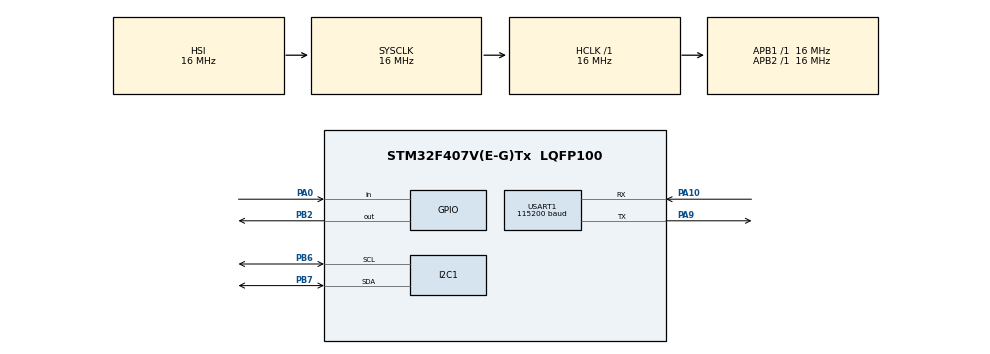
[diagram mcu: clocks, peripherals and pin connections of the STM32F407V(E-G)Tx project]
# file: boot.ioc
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I2C1.I2C_Mode=I2C_Fast
Mcu.Family=STM32F4
Mcu.Name=STM32F407V(E-G)Tx
Mcu.Package=LQFP100
NVIC.PriorityGroup=NVIC_PRIORITYGROUP_4
PA0-WKUP.GPIO_PuPd=GPIO_PULLUP
PA0-WKUP.Signal=GPIO_Input
PA10.Mode=Asynchronous
PA10.Signal=USART1_RX
PA13.Mode=Serial_Wire
PA13.Signal=SYS_JTMS-SWDIO
PA14.Mode=Serial_Wire
PA14.Signal=SYS_JTCK-SWCLK
PA9.Mode=Asynchronous
PA9.Signal=USART1_TX
PB2.GPIO_ModeDefaultOutputPP=GPIO_MODE_OUTPUT_PP
PB2.GPIO_PuPd=GPIO_NOPULL
PB2.GPIO_Speed=GPIO_SPEED_FREQ_HIGH
PB2.PinState=GPIO_PIN_SET
PB2.Signal=GPIO_Output
PB6.Mode=I2C
PB6.Signal=I2C1_SCL
PB7.Mode=I2C
PB7.Signal=I2C1_SDA
ProjectManager.HeapSize=0x200
ProjectManager.StackSize=0x500
ProjectManager.TargetToolchain=MDK-ARM V5.32
RCC.48MHZClocksFreq_Value=48000000
RCC.AHBFreq_Value=16000000
RCC.APB1Freq_Value=16000000
RCC.APB1TimFreq_Value=16000000
RCC.APB2Freq_Value=16000000
RCC.APB2TimCLKDivider=1
RCC.APB2TimFreq_Value=16000000
RCC.CortexFreq_Value=16000000
RCC.HCLKFreq_Value=16000000
RCC.HSE_VALUE=25000000
RCC.HSI_VALUE=16000000
RCC.LSE_VALUE=32768
RCC.SYSCLKFreq_VALUE=16000000
RCC.VCOOutputFreq_Value=192000000
USART1.BaudRate=115200
USART1.VirtualMode=VM_ASYNC
board=custom

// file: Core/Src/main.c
/* USER CODE BEGIN Header */
/**
  ******************************************************************************
  * @file           : main.c
  * @brief          : Main program body
  ******************************************************************************
  * @attention
  *
  * Copyright (c) 2025 STMicroelectronics.
  * All rights reserved.
  *
  * This software is licensed under terms that can be found in the LICENSE file
  * in the root directory of this software component.
  * If no LICENSE file comes with this software, it is provided AS-IS.
  *
  ******************************************************************************
  */
/* USER CODE END Header */
#include "main.h"
#include "i2c.h"
#include "usart.h"
#include "gpio.h"

/* USER CODE BEGIN Includes */
#include "oled.h"
#include <string.h> // 需要用到 memcpy
#include <stdio.h>
#include <stdlib.h> // atoi
/* USER CODE END Includes */

/* USER CODE BEGIN PM */

#define META_ADDRESS    0x08008000  // Sector 2 (16KB) - 存储版本信息
#define APP_ADDRESS     0x0800C000  // Sector 3 (16KB) - APP 起始地址 (注意修改 APP 的 VTOR)

#define META_MAGIC      0xA5A5A5A5  // 有效标志
#define RX_BUFFER_SIZE  1040        // 接收缓冲区
/* USER CODE END PM */

/* USER CODE BEGIN PV */
void PrintAppVector(void)
{
    uint32_t app_stack = *(__IO uint32_t*)APP_ADDRESS;
    uint32_t app_reset = *(__IO uint32_t*)(APP_ADDRESS + 4);

    OLED_Clear();
    OLED_Printf(0, 0, OLED_6X8, "APP Vectors:");
    OLED_Printf(0, 10, OLED_6X8, "SP   = 0x%08X", app_stack);
    OLED_Printf(0, 20, OLED_6X8, "Reset= 0x%08X", app_reset);

    uint8_t thumb = app_reset & 1;
    OLED_Printf(0, 30, OLED_6X8, "Thumb bit=%d", thumb);

    uint8_t sp_ok = ((app_stack & 0x2FFE0000U) == 0x20000000U);
    OLED_Printf(0, 40, OLED_6X8, "SP OK=%d", sp_ok);

    OLED_Update();
}
/* USER CODE END PV */

void SystemClock_Config(void);

/* USER CODE BEGIN 0 */

typedef struct {
    uint32_t magic_word; // 用于判断Flash是否为空，例如 0xA5A5A5A5
    char version[32];
    char publisher[32];
    char date[32];
} AppMetadata_t;

AppMetadata_t serverMeta; // 暂存从网络获取的版本信息

uint16_t crc16_modbus(const uint8_t* data, uint16_t len) {
    uint16_t crc = 0xFFFF;
    for (uint16_t i = 0; i < len; i++) {
        crc ^= data[i];
        for (uint8_t j = 0; j < 8; j++) {
            if (crc & 1) crc = (crc >> 1) ^ 0xA001;
            else crc >>= 1;
        }
    }
    return crc;
}

// 必须加回这个函数，用于清洗串口缓存，防止命令粘包
void UART_Flush(void) {
    uint8_t temp;
    while(__HAL_UART_GET_FLAG(&huart1, UART_FLAG_RXNE)) {
        HAL_UART_Receive(&huart1, &temp, 1, 10);
    }
}

// 辅助函数：跳过回显，解析整数响应
// 输入示例: "AT+GetBinSize\r\n323264\r\nOK" -> 返回 323264
uint32_t Parse_Int_Response(char* str) {
    // 1. 如果以 AT 开头，跳过第一行 (回显)
    if (strncmp(str, "AT", 2) == 0) {
        char* next = strchr(str, '\n');
        if (next) str = next + 1;
    }

    // 2. 跳过可能的空行
    while (*str == '\r' || *str == '\n') str++;

    // 3. 转换数字
    return (uint32_t)atoi(str);
}

// 定义全局 buffer (复用之前的定义)
uint8_t buffer[RX_BUFFER_SIZE];

// ==========================================
// 新增: 发送 AT 指令并等待 OK
// ==========================================
uint8_t ESP_Send_Cmd(char* cmd, char* ack, uint32_t timeout) {
    UART_Flush(); // 发送前清洗
    HAL_UART_Transmit(&huart1, (uint8_t*)cmd, strlen(cmd), 100);

    memset(buffer, 0, RX_BUFFER_SIZE);
    // 接收回复
    HAL_UART_Receive(&huart1, buffer, RX_BUFFER_SIZE - 1, timeout);

    // 检查是否包含期望的响应 (如 "OK")
    if (strstr((char*)buffer, ack)) {
        return 1;
    }
    return 0;
}

// ==========================================
// 新增: 初始化 ESP8266 配置 (WiFi & URL)
// ==========================================
void ESP_Config_Init(void) {
    OLED_Clear();
    OLED_Printf(0, 0, OLED_6X8, "Config ESP8266...");
    OLED_Update();

    // 1. 测试通信 (握手)
    uint8_t retry = 0;
    while(!ESP_Send_Cmd("AT\r\n", "OK", 500)) {
        retry++;
        OLED_Printf(0, 10, OLED_6X8, "Wait ESP.. %d", retry);
        OLED_Update();
        HAL_Delay(500);
        if(retry > 20) return; // 超时放弃
    }

    // 2. 设置 WiFi (ESP 端会返回 OK_RECONNECTING)
    // 注意: 命令中不要带空格
    OLED_Printf(0, 20, OLED_6X8, "Set WiFi...");
    OLED_Update();
    if(ESP_Send_Cmd("AT+SetWifi=aaa,aaaaaaaa\r\n", "OK", 2000)) {
        OLED_Printf(0, 20, OLED_6X8, "Set WiFi OK  ");
    } else {
        OLED_Printf(0, 20, OLED_6X8, "Set WiFi Err ");
    }
    OLED_Update();

    // 3. 设置版本文件 URL
    OLED_Printf(0, 30, OLED_6X8, "Set Ver URL...");
    OLED_Update();
		//if(ESP_Send_Cmd("AT+SetVerUrl=http://192.168.3.102/version.txt\r\n", "OK", 1000)) {
    if(ESP_Send_Cmd("AT+SetVerUrl=http://111.231.116.18/version.txt\r\n", "OK", 1000)) {
        OLED_Printf(0, 30, OLED_6X8, "Ver URL OK   ");
    } else {
        OLED_Printf(0, 30, OLED_6X8, "Ver URL Err  ");
    }
    OLED_Update();

    // 4. 设置固件 URL
    OLED_Printf(0, 40, OLED_6X8, "Set FW URL...");
    OLED_Update();
		//if(ESP_Send_Cmd("AT+SetFwUrl=http://192.168.3.102/app.bin\r\n", "OK", 1000)) {
    if(ESP_Send_Cmd("AT+SetFwUrl=http://111.231.116.18/app.bin\r\n", "OK", 1000)) {
        OLED_Printf(0, 40, OLED_6X8, "FW URL OK    ");
    } else {
        OLED_Printf(0, 40, OLED_6X8, "FW URL Err   ");
    }
    OLED_Update();

    HAL_Delay(1000); // 展示一下配置结果
}

// 跳转到 APP
typedef void (*pFunction)(void);
void JumpToApplication(void) {
    OLED_Printf(0, 50, OLED_6X8, "Jumping to APP...");
    OLED_Update();

    // 检查栈顶地址是否合法 (粗略检查)
    if (((*(__IO uint32_t*)APP_ADDRESS) & 0x2FFE0000) == 0x20000000) {

        // 2. 准备跳转变量
        uint32_t JumpAddress = *(__IO uint32_t*)(APP_ADDRESS + 4);
        pFunction JumpToApp = (pFunction)JumpAddress;

        // 3. 关闭所有外设和中断 (清理现场)
        __disable_irq(); // 关总中断

        SysTick->CTRL = 0;
        SysTick->LOAD = 0;
        SysTick->VAL  = 0;

        for (uint32_t i = 0; i < 8; i++) {
            NVIC->ICER[i] = 0xFFFFFFFF;
            NVIC->ICPR[i] = 0xFFFFFFFF;
        }

        HAL_RCC_DeInit();
        HAL_DeInit();

        // 4. 重定向中断向量表
        SCB->VTOR = APP_ADDRESS;

        // 5. 设置主堆栈指针 (这是最后一步操作)
        __set_MSP(*(__IO uint32_t*)APP_ADDRESS);
        __enable_irq();
        // 6. 跳转
        JumpToApp();
    } else {
        OLED_Clear();
        OLED_Printf(0, 0, OLED_6X8, "Err: No APP!");
        OLED_Printf(0, 10, OLED_6X8, "Addr: 0x%X", APP_ADDRESS);
        OLED_Update();
        while(1);
    }
}

// ===== Flash 操作: 擦除 APP 区域 (Sector 3 - 7) =====
void Flash_Erase_App(void) {
    FLASH_EraseInitTypeDef EraseInit;
    uint32_t PageError;
    HAL_FLASH_Unlock();

    // F407VET6: Sec3(16K), Sec4(64K), Sec5(128K), Sec6(128K), Sec7(128K)
    EraseInit.TypeErase    = FLASH_TYPEERASE_SECTORS;
    EraseInit.Sector       = FLASH_SECTOR_3;
    EraseInit.NbSectors    = 5; // 擦除 3,4,5,6,7
    EraseInit.VoltageRange = FLASH_VOLTAGE_RANGE_3;

    if (HAL_FLASHEx_Erase(&EraseInit, &PageError) != HAL_OK) {
        OLED_Printf(0, 50, OLED_6X8, "Erase APP Fail");
        OLED_Update();
    }
    HAL_FLASH_Lock();
}

// ===== Flash 操作: 更新 Sector 2 的版本信息 =====
void Flash_Update_Metadata(AppMetadata_t *newMeta) {
    FLASH_EraseInitTypeDef EraseInit;
    uint32_t PageError;

    HAL_FLASH_Unlock();

    // 1. 擦除 Sector 2
    EraseInit.TypeErase    = FLASH_TYPEERASE_SECTORS;
    EraseInit.Sector       = FLASH_SECTOR_2;
    EraseInit.NbSectors    = 1;
    EraseInit.VoltageRange = FLASH_VOLTAGE_RANGE_3;
    HAL_FLASHEx_Erase(&EraseInit, &PageError);

    // 2. 写入结构体数据
    uint32_t *pData = (uint32_t*)newMeta;
    for(uint32_t i = 0; i < sizeof(AppMetadata_t); i += 4) {
        HAL_FLASH_Program(FLASH_TYPEPROGRAM_WORD, META_ADDRESS + i, *(pData + i/4));
    }

    HAL_FLASH_Lock();
}

// ===== Flash 操作: 写入数据 =====
HAL_StatusTypeDef Flash_Write_Data(uint32_t addr, uint8_t *data, uint32_t len) {
    HAL_StatusTypeDef status = HAL_OK;
    HAL_FLASH_Unlock();
    for(uint32_t i=0; i<len; i+=4) {
        uint32_t word = *(uint32_t*)(data+i);
        status = HAL_FLASH_Program(FLASH_TYPEPROGRAM_WORD, addr+i, word);
        if(status != HAL_OK) break;
    }
    HAL_FLASH_Lock();
    return status;
}

// ===== 辅助: 解析版本字符串 =====
void Parse_Version_String(char* buffer, AppMetadata_t* meta) {
    char *token;

    // 1. Version
    token = strtok(buffer, "\r\n");
    if(token) strncpy(meta->version, token, 32);

    // 2. Publisher
    token = strtok(NULL, "\r\n");
    if(token) strncpy(meta->publisher, token, 32);

    // 3. Date
    token = strtok(NULL, "\r\n");
    if(token) strncpy(meta->date, token, 32);

    meta->magic_word = META_MAGIC; // 设置有效标志
}

void OTA_CheckAndDownload(void) {

    AppMetadata_t *localMeta = (AppMetadata_t*)META_ADDRESS;
    char oled_buf[32];
    uint32_t firmware_total_size = 0; // 新增：固件总大小

    OLED_Clear();
    OLED_Printf(0, 0, OLED_6X8, "Checking Update...");
    OLED_Update();

    // 1. 清洗串口
    UART_Flush();

    // 2. 发送获取版本指令
    memset(buffer, 0, RX_BUFFER_SIZE);
    HAL_UART_Transmit(&huart1, (uint8_t*)"AT+GetNewVersion\r\n", 18, 100);
    // 稍微读多一点，防止截断
    HAL_UART_Receive(&huart1, buffer, 100, 2000);

    // 简单处理回显：如果buffer开头是AT，手动偏移指针
    char* resp_ptr = (char*)buffer;
    if (strncmp(resp_ptr, "AT", 2) == 0) {
        char* p = strchr(resp_ptr, '\n');
        if(p) resp_ptr = p + 1;
    }
    while(*resp_ptr == '\r' || *resp_ptr == '\n') resp_ptr++; // 跳空行

    // 3. 检查是否收到错误
    if (strncmp(resp_ptr, "ERR", 3) == 0 || strlen(resp_ptr) < 5) {
        OLED_Printf(0, 10, OLED_6X8, "Net Error");
        OLED_Update();
        HAL_Delay(1000);
        return;
    }

    // 4. 解析服务器版本
    memset(&serverMeta, 0, sizeof(AppMetadata_t));
    Parse_Version_String(resp_ptr, &serverMeta);

    // 显示信息
    OLED_Printf(0, 10, OLED_6X8, "Srv: %s", serverMeta.version);
    if (localMeta->magic_word == META_MAGIC) {
        OLED_Printf(0, 20, OLED_6X8, "Loc: %s", localMeta->version);
    } else {
        OLED_Printf(0, 20, OLED_6X8, "Loc: None");
    }
    OLED_Update();
    HAL_Delay(1000);

    // 5. 比较版本
    if (localMeta->magic_word != META_MAGIC ||
        strcmp(localMeta->version, serverMeta.version) != 0) {

        OLED_Printf(0, 30, OLED_6X8, "New Ver Found!");
        OLED_Update();
        HAL_Delay(500);

        // ==========================================
        // 新增步骤：获取固件大小
        // ==========================================
        OLED_Printf(0, 40, OLED_6X8, "Get Size...");
        OLED_Update();

        UART_Flush(); // 清洗
        HAL_UART_Transmit(&huart1, (uint8_t*)"AT+GetBinSize\r\n", 15, 100);
        memset(buffer, 0, 64);
        HAL_UART_Receive(&huart1, buffer, 63, 1000);

        firmware_total_size = Parse_Int_Response((char*)buffer);

        // 显示总大小 (例如: Size: 320KB)
        sprintf(oled_buf, "Size: %u KB", firmware_total_size / 1024);
        OLED_Printf(0, 40, OLED_6X8, "%-16s", oled_buf); // 覆盖上一行
        OLED_Update();
        HAL_Delay(500);

        if (firmware_total_size == 0) {
             OLED_Printf(0, 50, OLED_6X8, "Size Err!");
             OLED_Update();
             firmware_total_size = 1; // 防止除以0
        }

        // ==========================================
        // 1. 擦除 APP 区域
        // ==========================================
        OLED_Printf(0, 50, OLED_6X8, "Erasing...");
        OLED_Update();
        Flash_Erase_App();

        // 2. 请求固件
        UART_Flush(); // 再次清洗
        HAL_UART_Transmit(&huart1, (uint8_t*)"AT+GetBin\r\n", 11, 100);

        uint32_t write_addr = APP_ADDRESS;
        uint32_t total_received = 0;
        uint8_t rx_byte;

        OLED_Printf(0, 50, OLED_6X8, "Downloading...  "); // 准备显示进度
        OLED_Update();

        while(1) {
            // 等待数据头 (超时稍微给大点)
            if(HAL_UART_Receive(&huart1, &rx_byte, 1, 10000) != HAL_OK) {
                OLED_Printf(0, 50, OLED_6X8, "Rx Timeout!");
                OLED_Update();
                return;
            }

            // 检查 END
            if(rx_byte == 'E') {
                char end_buf[3] = {0};
                HAL_UART_Receive(&huart1, (uint8_t*)end_buf, 2, 100);
                if(strncmp(end_buf, "ND", 2) == 0) {
                    HAL_UART_Transmit(&huart1, (uint8_t*)"OK\r\n", 4, 100);

                    // 7. 更新版本信息
                    OLED_Printf(0, 50, OLED_6X8, "Update Meta...");
                    OLED_Update();
                    Flash_Update_Metadata(&serverMeta);

                    OLED_Clear();
                    OLED_Printf(0, 10, OLED_6X8, "Update Done!");
                    OLED_Printf(0, 20, OLED_6X8, "%s", serverMeta.version);
                    OLED_Update();
                    HAL_Delay(1000);

                    NVIC_SystemReset();
                }
            }

            // 解析包头 0xAA
            if(rx_byte == 0xAA) {
                uint8_t header[2];
                HAL_UART_Receive(&huart1, header, 2, 100);
                uint16_t len = header[0] | (header[1] << 8);

                if (len > RX_BUFFER_SIZE) len = RX_BUFFER_SIZE;

                HAL_UART_Receive(&huart1, buffer, len, 800); // 增加接收超时

                uint8_t tail[3]; // crcL, crcH, 0x55
                HAL_UART_Receive(&huart1, tail, 3, 100);

                uint16_t recv_crc = tail[0] | (tail[1] << 8);
                uint16_t cal_crc = crc16_modbus(buffer, len);

                if (cal_crc == recv_crc && tail[2] == 0x55) {
                    if (Flash_Write_Data(write_addr, buffer, len) == HAL_OK) {
                        write_addr += len;
                        total_received += len;
                        HAL_UART_Transmit(&huart1, (uint8_t*)"OK", 2, 100);

                        // 显示百分比进度
                        if ((total_received % 1024) == 0) {
                            uint8_t percent = (uint8_t)((total_received * 100) / firmware_total_size);
                            if(percent > 100) percent = 100;
                            sprintf(oled_buf, "%d%% %uKB", percent, total_received / 1024);
                            OLED_Printf(0, 50, OLED_6X8, "%-16s", oled_buf);
                            OLED_Update();
                        }
                    } else {
                        HAL_UART_Transmit(&huart1, (uint8_t*)"ERR_FLASH", 9, 100);
                    }
                } else {
                    HAL_UART_Transmit(&huart1, (uint8_t*)"ERR_CRC", 7, 100);
                }
            }
        }
    } else {
        OLED_Printf(0, 30, OLED_6X8, "Version Match");
        OLED_Update();
        HAL_Delay(500);
    }
}

/* USER CODE END 0 */

int main(void)
{

  /* MCU Configuration--------------------------------------------------------*/

  /* Reset of all peripherals, Initializes the Flash interface and the Systick. */
  HAL_Init();

  /* Configure the system clock */
  SystemClock_Config();

  /* Initialize all configured peripherals */
  MX_GPIO_Init();
  MX_USART1_UART_Init();
  MX_I2C1_Init();
  /* USER CODE BEGIN 2 */
  HAL_Delay(1000);
  OLED_Init();
  OLED_Clear();
  OLED_Printf(0, 0, OLED_6X8, "Bootloader v2.1");
  OLED_Update();

  // 1. 检查 PA0 强行更新 (防止APP写坏导致死循环)
  if(HAL_GPIO_ReadPin(GPIOA, GPIO_PIN_0) == GPIO_PIN_SET) {
      OLED_Printf(0, 10, OLED_6X8, "Force Update...");
      OLED_Update();
      AppMetadata_t emptyMeta = {0};
      Flash_Update_Metadata(&emptyMeta);
  }

  // 2. 初始化 ESP8266 配置 (WiFi & URL)
  // 即使 ESP8266 EEPROM 里有了，这里覆盖一下也能确保配置正确
  ESP_Config_Init();

  // 3. 执行 OTA 检查与下载
  OTA_CheckAndDownload();

  PrintAppVector();
  HAL_Delay(2000);

  JumpToApplication();

  /* USER CODE END 2 */

  /* Infinite loop */
  /* USER CODE BEGIN WHILE */
  while (1)
  {
    HAL_Delay(100);
    HAL_GPIO_TogglePin(GPIOB,GPIO_PIN_2);
    /* USER CODE END WHILE */

  }
}

void SystemClock_Config(void)
{
  RCC_OscInitTypeDef RCC_OscInitStruct = {0};
  RCC_ClkInitTypeDef RCC_ClkInitStruct = {0};

  /** Configure the main internal regulator output voltage
  */
  __HAL_RCC_PWR_CLK_ENABLE();
  __HAL_PWR_VOLTAGESCALING_CONFIG(PWR_REGULATOR_VOLTAGE_SCALE1);

  /** Initializes the RCC Oscillators according to the specified parameters
  * in the RCC_OscInitTypeDef structure.
  */
  RCC_OscInitStruct.OscillatorType = RCC_OSCILLATORTYPE_HSI;
  RCC_OscInitStruct.HSIState = RCC_HSI_ON;
  RCC_OscInitStruct.HSICalibrationValue = RCC_HSICALIBRATION_DEFAULT;
  RCC_OscInitStruct.PLL.PLLState = RCC_PLL_NONE;
  if (HAL_RCC_OscConfig(&RCC_OscInitStruct) != HAL_OK)
  {
    Error_Handler();
  }

  /** Initializes the CPU, AHB and APB buses clocks
  */
  RCC_ClkInitStruct.ClockType = RCC_CLOCKTYPE_HCLK|RCC_CLOCKTYPE_SYSCLK
                              |RCC_CLOCKTYPE_PCLK1|RCC_CLOCKTYPE_PCLK2;
  RCC_ClkInitStruct.SYSCLKSource = RCC_SYSCLKSOURCE_HSI;
  RCC_ClkInitStruct.AHBCLKDivider = RCC_SYSCLK_DIV1;
  RCC_ClkInitStruct.APB1CLKDivider = RCC_HCLK_DIV1;
  RCC_ClkInitStruct.APB2CLKDivider = RCC_HCLK_DIV1;

  if (HAL_RCC_ClockConfig(&RCC_ClkInitStruct, FLASH_LATENCY_0) != HAL_OK)
  {
    Error_Handler();
  }
}

void Error_Handler(void)
{
  __disable_irq();
  while (1)
  {
  }
}
